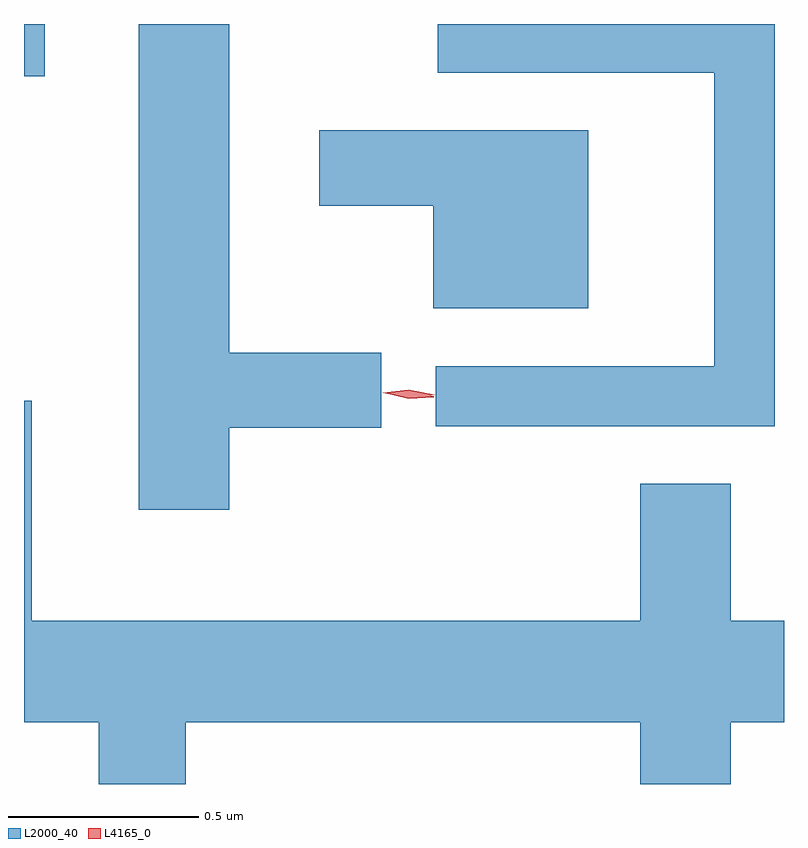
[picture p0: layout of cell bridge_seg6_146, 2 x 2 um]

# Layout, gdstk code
import gdstk
lib = gdstk.Library(unit=1e-6, precision=1e-09)
def R(c, l, rs):  # rectangles x0, y0, x1, y1
    for r in rs: c.add(gdstk.rectangle(r[:2], r[2:], *l))
def P(c, l, *ps):  # polygons
    for p in ps: c.add(gdstk.Polygon(p, *l))
L2000_40 = (2000, 40)
L4165_0 = (4165, 0)

bridge_seg6_146 = lib.new_cell('bridge_seg6_146')
R(bridge_seg6_146, L2000_40, [(1024.144,1662.736,1024.199,1662.874)])
P(bridge_seg6_146, L2000_40, [(1024.684,1661.811),(1025.084,1661.811),(1025.084,1662.009),(1024.684,1662.009),(1024.684,1662.874),(1024.446,1662.874),(1024.446,1661.596),(1024.684,1661.596)],
  [(1026.119,1662.874),(1025.233,1662.874),(1025.233,1662.746),(1025.961,1662.746),(1025.961,1661.974),(1025.228,1661.974),(1025.228,1661.816),(1026.119,1661.816)],
  [(1025.629,1662.594),(1024.921,1662.594),(1024.921,1662.396),(1025.221,1662.396),(1025.221,1662.126),(1025.629,1662.126)],
  [(1024.569,1661.036),(1025.766,1661.036),(1025.766,1660.874),(1026.004,1660.874),(1026.004,1661.036),(1026.144,1661.036),(1026.144,1661.304),(1026.004,1661.304),(1026.004,1661.664),(1025.766,1661.664),(1025.766,1661.304),(1024.164,1661.304),(1024.164,1661.883),(1024.144,1661.883),(1024.144,1661.036),(1024.341,1661.036),(1024.341,1660.874),(1024.569,1660.874)])
P(bridge_seg6_146, L4165_0, [(1025.156,1661.891),(1025.088,1661.903),(1025.088,1661.903),(1025.088,1661.904),(1025.157,1661.911),(1025.225,1661.899),(1025.225,1661.898),(1025.225,1661.898)],
  [(1025.156,1661.888),(1025.091,1661.903),(1025.091,1661.903),(1025.091,1661.904),(1025.157,1661.908),(1025.222,1661.894),(1025.222,1661.893),(1025.222,1661.892)])

lib.write_gds('bridge_seg6_146.gds')
